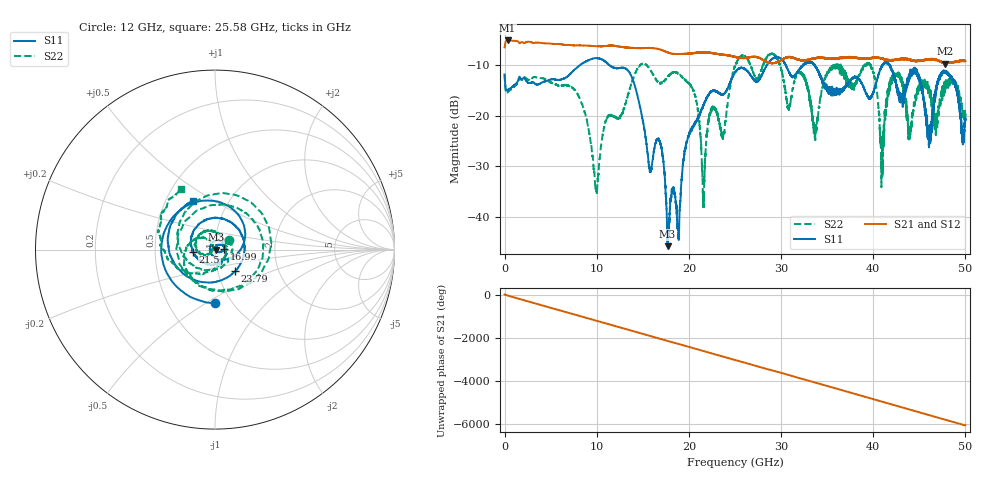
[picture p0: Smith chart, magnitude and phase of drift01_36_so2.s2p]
!Created with skrf (http://scikit-rf.org).
# Hz S RI R 50.0
!freq ReS11 ImS11 ReS21 ImS21 ReS12 ImS12 ReS22 ImS22
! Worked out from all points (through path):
!   10001 points, 300 kHz to 50 GHz, reference 50 ohm
!   highest |S21| = -5.05 dB at 325.3 MHz (marker M1); lowest = -9.6 dB at 47.83 GHz (marker M2)
!   group delay of S21, straight-line fit = 336 ps
!   lowest |S11| = -45.9 dB at 17.69 GHz (marker M3), VSWR 1.01, Z = 50.5 - j0.0837 ohm
!   |S11| at or under -10 dB: start of sweep to 8.151 GHz; 11.41 GHz to 28.43 GHz (17.02 GHz wide, 85.4 % of centre); 41.8 GHz to end of sweep (the widest 3 of 9)
!   |S22| runs from -38.5 to -7.7 dB; largest |S21 - S12| = 0.013
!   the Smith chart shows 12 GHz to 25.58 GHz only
!   S11 on the Smith chart (normalised r, x): 12 GHz: 0.83, -0.54; 16.99 GHz: 1.10, +0.00; 21.5 GHz: 0.78, -0.02; 23.79 GHz: 1.21, -0.30; 25.58 GHz: 0.68, +0.40
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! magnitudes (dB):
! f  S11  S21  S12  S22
! 300 kHz  -11.8  -6.4  -6.5  -11.7
! 325.3 MHz  -15.0  -5.1  -5.1  -15.4
! 8.335 GHz  -9.7  -6.0  -6.0  -17.5
! 9.935 GHz  -8.6  -6.2  -6.2  -34.5
! 12 GHz  -10.5  -6.1  -6.1  -20.4
! 15.78 GHz  -31.1  -6.5  -6.5  -10.8
! 16.67 GHz  -24.6  -6.8  -6.7  -13.4
! 16.99 GHz  -26.2  -6.9  -6.9  -13.6
! 17.69 GHz  -45.9  -7.4  -7.4  -12.3
! 20.5 GHz  -22.0  -7.6  -7.6  -15.1
! 21.5 GHz  -18.2  -7.4  -7.4  -34.5
! 22.45 GHz  -15.2  -7.6  -7.5  -19.0
! 23.79 GHz  -15.7  -7.9  -7.9  -23.4
! 25 GHz  -11.4  -8.3  -8.4  -10.3
! 25.58 GHz  -10.6  -8.5  -8.6  -8.2
! 33.34 GHz  -9.5  -8.7  -8.7  -19.2
! 39.49 GHz  -16.4  -8.6  -8.6  -9.9
! 40.95 GHz  -10.1  -8.6  -8.6  -29.1
! 41.67 GHz  -9.7  -8.9  -9.0  -15.3
! 46.1 GHz  -24.4  -8.8  -8.8  -15.3
! 47.83 GHz  -11.3  -9.6  -9.6  -14.2
! 50 GHz  -20.9  -9.2  -9.1  -20.3
